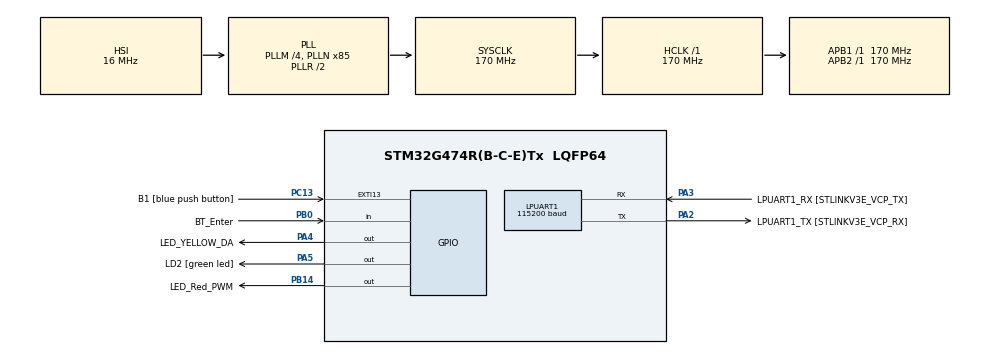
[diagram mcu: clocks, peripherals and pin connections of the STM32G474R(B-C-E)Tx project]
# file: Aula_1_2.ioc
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LPUART1.BaudRate=115200
LPUART1.WordLength=UART_WORDLENGTH_8B
Mcu.Family=STM32G4
Mcu.Name=STM32G474R(B-C-E)Tx
Mcu.Package=LQFP64
NVIC.EXTI15_10_IRQn=true\:0\:0\:false\:false\:true\:true\:true\:true
NVIC.PriorityGroup=NVIC_PRIORITYGROUP_4
PA13.GPIO_Label=T_SWDIO
PA13.Mode=Serial_Wire
PA13.Signal=SYS_JTMS-SWDIO
PA14.GPIO_Label=T_SWCLK
PA14.Mode=Serial_Wire
PA14.Signal=SYS_JTCK-SWCLK
PA2.GPIO_Label=LPUART1_TX [STLINKV3E_VCP_RX]
PA2.Mode=Asynchronous
PA2.Signal=LPUART1_TX
PA3.GPIO_Label=LPUART1_RX [STLINKV3E_VCP_TX]
PA3.Mode=Asynchronous
PA3.Signal=LPUART1_RX
PA4.GPIO_Label=LED_YELLOW_DA
PA4.Signal=GPIO_Output
PA5.GPIO_Label=LD2 [green led]
PA5.Signal=GPIO_Output
PB0.GPIO_Label=BT_Enter
PB0.Signal=GPIO_Input
PB14.GPIO_Label=LED_Red_PWM
PB14.Signal=GPIO_Output
PB3.GPIO_Label=T_SWO
PB3.Signal=SYS_JTDO-SWO
PC13.GPIO_Label=B1 [blue push button]
PC13.Signal=GPXTI13
PC14-OSC32_IN.Mode=LSE-External-Oscillator
PC14-OSC32_IN.Signal=RCC_OSC32_IN
PC15-OSC32_OUT.Mode=LSE-External-Oscillator
PC15-OSC32_OUT.Signal=RCC_OSC32_OUT
PF0-OSC_IN.Mode=HSE-External-Oscillator
PF0-OSC_IN.Signal=RCC_OSC_IN
PF1-OSC_OUT.Mode=HSE-External-Oscillator
PF1-OSC_OUT.Signal=RCC_OSC_OUT
ProjectManager.HeapSize=0x200
ProjectManager.StackSize=0x400
ProjectManager.TargetToolchain=STM32CubeIDE
RCC.ADC12Freq_Value=170000000
RCC.ADC345Freq_Value=170000000
RCC.AHBFreq_Value=170000000
RCC.APB1Freq_Value=170000000
RCC.APB1TimFreq_Value=170000000
RCC.APB2Freq_Value=170000000
RCC.APB2TimFreq_Value=170000000
RCC.CortexFreq_Value=170000000
RCC.EXTERNAL_CLOCK_VALUE=12288000
RCC.HCLKFreq_Value=170000000
RCC.HSE_VALUE=24000000
RCC.HSI48_VALUE=48000000
RCC.HSI_VALUE=16000000
RCC.PLLM=RCC_PLLM_DIV4
RCC.PLLN=85
RCC.RTCClockSelection=RCC_RTCCLKSOURCE_LSE
RCC.SYSCLKFreq_VALUE=170000000
RCC.SYSCLKSource=RCC_SYSCLKSOURCE_PLLCLK
RCC.USBFreq_Value=170000000
RCC.VCOOutputFreq_Value=340000000
VP_SYS_VS_DBSignals.Mode=DisableDeadBatterySignals
board=NUCLEO-G474RE

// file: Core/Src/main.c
/* USER CODE BEGIN Header */
/**
  ******************************************************************************
  * @file           : main.c
  * @brief          : Main program body
  ******************************************************************************
  * @attention
  *
  * Copyright (c) 2023 STMicroelectronics.
  * All rights reserved.
  *
  * This software is licensed under terms that can be found in the LICENSE file
  * in the root directory of this software component.
  * If no LICENSE file comes with this software, it is provided AS-IS.
  *
  ******************************************************************************
  */
/* USER CODE END Header */
#include "main.h"
#include "usart.h"
#include "gpio.h"

void SystemClock_Config(void);

int main(void)
{

  /* MCU Configuration--------------------------------------------------------*/

  /* Reset of all peripherals, Initializes the Flash interface and the Systick. */
  HAL_Init();

  /* Configure the system clock */
  SystemClock_Config();

  /* Initialize all configured peripherals */
  MX_GPIO_Init();
  MX_LPUART1_UART_Init();

  /* USER CODE BEGIN 2 */

  int const timeout = 5000;		// Enter button pressed timeout (ms)
  char blink_led = 0;			// Flag to indicate LED behavior (reset / blink)
  uint32_t t0 = 0;				// Time when button is pressed
  uint32_t t1 = 0;				// Time when button is released
  GPIO_PinState old_button_state = HAL_GPIO_ReadPin(BT_Enter_GPIO_Port, BT_Enter_Pin);
  GPIO_PinState current_button_state = old_button_state;

  /* USER CODE END 2 */

  /* Infinite loop */
  /* USER CODE BEGIN WHILE */
  while (1)
  {
	  current_button_state = HAL_GPIO_ReadPin(BT_Enter_GPIO_Port, BT_Enter_Pin);

	  // Enter button is pressed. Get time
	  if((current_button_state == GPIO_PIN_SET) && (old_button_state == GPIO_PIN_RESET)){
		  t0 = HAL_GetTick();
	  }

	  // Enter button is released
	  else if((current_button_state == GPIO_PIN_RESET) && (old_button_state == GPIO_PIN_SET)){
		  t1 = HAL_GetTick();

		  // If button is released after timeout, change current LED behavior
		  if (t1 - t0 >= timeout){
			  blink_led = ~blink_led;
		  }
	  }

	  // LED behavior
	  if (blink_led){
		  HAL_GPIO_TogglePin(LD2_GPIO_Port, LD2_Pin);
		  HAL_Delay(500);
	  } else {
		  HAL_GPIO_WritePin(LD2_GPIO_Port, LD2_Pin, GPIO_PIN_RESET);
	  }

	  old_button_state = current_button_state;

    /* USER CODE END WHILE */

  }
}

void SystemClock_Config(void)
{
  RCC_OscInitTypeDef RCC_OscInitStruct = {0};
  RCC_ClkInitTypeDef RCC_ClkInitStruct = {0};

  /** Configure the main internal regulator output voltage
  */
  HAL_PWREx_ControlVoltageScaling(PWR_REGULATOR_VOLTAGE_SCALE1_BOOST);

  /** Initializes the RCC Oscillators according to the specified parameters
  * in the RCC_OscInitTypeDef structure.
  */
  RCC_OscInitStruct.OscillatorType = RCC_OSCILLATORTYPE_HSI;
  RCC_OscInitStruct.HSIState = RCC_HSI_ON;
  RCC_OscInitStruct.HSICalibrationValue = RCC_HSICALIBRATION_DEFAULT;
  RCC_OscInitStruct.PLL.PLLState = RCC_PLL_ON;
  RCC_OscInitStruct.PLL.PLLSource = RCC_PLLSOURCE_HSI;
  RCC_OscInitStruct.PLL.PLLM = RCC_PLLM_DIV4;
  RCC_OscInitStruct.PLL.PLLN = 85;
  RCC_OscInitStruct.PLL.PLLP = RCC_PLLP_DIV2;
  RCC_OscInitStruct.PLL.PLLQ = RCC_PLLQ_DIV2;
  RCC_OscInitStruct.PLL.PLLR = RCC_PLLR_DIV2;
  if (HAL_RCC_OscConfig(&RCC_OscInitStruct) != HAL_OK)
  {
    Error_Handler();
  }

  /** Initializes the CPU, AHB and APB buses clocks
  */
  RCC_ClkInitStruct.ClockType = RCC_CLOCKTYPE_HCLK|RCC_CLOCKTYPE_SYSCLK
                              |RCC_CLOCKTYPE_PCLK1|RCC_CLOCKTYPE_PCLK2;
  RCC_ClkInitStruct.SYSCLKSource = RCC_SYSCLKSOURCE_PLLCLK;
  RCC_ClkInitStruct.AHBCLKDivider = RCC_SYSCLK_DIV1;
  RCC_ClkInitStruct.APB1CLKDivider = RCC_HCLK_DIV1;
  RCC_ClkInitStruct.APB2CLKDivider = RCC_HCLK_DIV1;

  if (HAL_RCC_ClockConfig(&RCC_ClkInitStruct, FLASH_LATENCY_4) != HAL_OK)
  {
    Error_Handler();
  }
}

void Error_Handler(void)
{
  __disable_irq();
  while (1)
  {
  }
}
